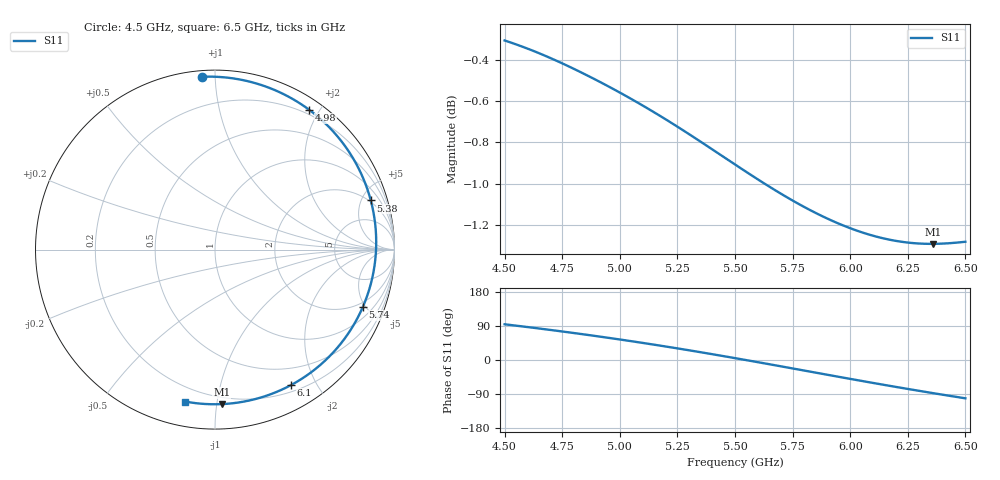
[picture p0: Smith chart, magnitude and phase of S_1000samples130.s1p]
! TOUCHSTONE file generated by CST MICROWAVE STUDIO
! Date and time: Thu Oct 27 02:31:52 2022
! Project name: L.cst
! Parameters = {Di=1.27; Epsilon_r=1.56; InnerDiameter=1.27; Length=2; Lf=10; Lg=60; OuterConductorThickness=0.2921; OuterDiameter=3.6; Wf=3; Wp=41.2; de=1.5; df=6.8; g=0.8; gx=4.96175; gy=2.84586; h=2.34; hf=1.524; px=9.9084; py=9.43671; w=9.7; wx=4.94665; wy=6.59086}
! Header version: 2018
! Port assignment regex: !\s*Touchstone port\s*([0-9]+)\s*=\s*(CST MWS port|CST DS port)\s*([0-9]+|Zmin|Zmax)\s*\(\"(.*)\"\)(\s*mode\s*([0-9]+))?.*
! Touchstone port assignment:
! Touchstone port 1 = CST MWS port 1 ("")
# GHz S DB R 50
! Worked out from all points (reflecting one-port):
!   101 points, 4.5 GHz to 6.5 GHz, reference 50 ohm
!   lowest |S11| = -1.3 dB at 6.36 GHz (marker M1), VSWR 13.46, Z = 7.72 - j51.6 ohm
!   phase of S11 starts at 94 deg and turns -195 deg over the sweep
!   S11 on the Smith chart (normalised r, x): 4.5 GHz: 0.03, +0.93; 4.98 GHz: 0.14, +1.88; 5.38 GHz: 1.86, +5.92; 5.74 GHz: 1.65, -4.80; 6.1 GHz: 0.28, -1.68; 6.5 GHz: 0.12, -0.82
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4.5  -0.30 94.2
4.64  -0.36 83.9
4.76  -0.42 74.5
4.88  -0.49 64.6
4.98  -0.55 55.9
5  -0.56 54.1
5.12  -0.63 43.2
5.2  -0.69 35.5
5.26  -0.73 29.7
5.32  -0.77 23.6
5.38  -0.82 17.5
5.44  -0.86 11.3
5.5  -0.91 4.9
5.56  -0.95 -1.5
5.62  -0.99 -8.0
5.68  -1.04 -14.6
5.74  -1.08 -21.2
5.76  -1.09 -23.4
5.82  -1.13 -30.0
5.88  -1.16 -36.6
5.94  -1.19 -43.2
6  -1.22 -49.8
6.1  -1.25 -60.6
6.18  -1.28 -69.1
6.26  -1.29 -77.4
6.36  -1.29 -87.5
6.42  -1.29 -93.4
6.5  -1.28 -101.1
